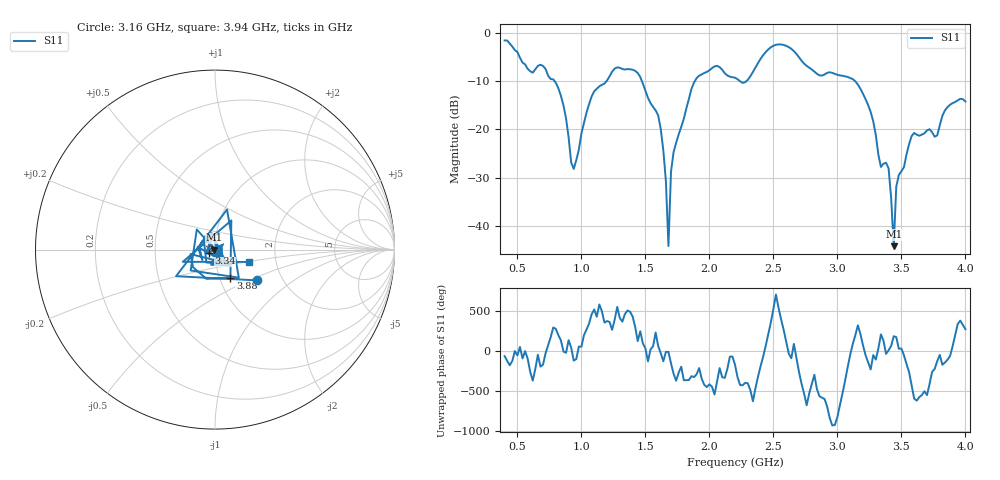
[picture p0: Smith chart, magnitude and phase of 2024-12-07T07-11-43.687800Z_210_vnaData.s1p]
!Created with skrf (http://scikit-rf.org).
# Hz S RI R 50.0
!freq ReS11 ImS11
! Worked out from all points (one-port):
!   181 points, 400 MHz to 4 GHz, reference 50 ohm
!   lowest |S11| = -44.2 dB at 3.44 GHz (marker M1), VSWR 1.01, Z = 49.4 - j0.0795 ohm
!   |S11| at or under -10 dB: 789.6 MHz to 1.197 GHz (407.6 MHz wide, 41 % of centre); 1.472 GHz to 1.887 GHz (414.9 MHz wide, 24.7 % of centre); 3.137 GHz to end of sweep (the widest 3 of 4)
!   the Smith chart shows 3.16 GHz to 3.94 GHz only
!   S11 on the Smith chart (normalised r, x): 3.16 GHz: 1.49, -0.56; 3.34 GHz: 0.93, -0.04; 3.88 GHz: 1.12, -0.37; 3.94 GHz: 1.44, -0.21
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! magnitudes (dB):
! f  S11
! 400 MHz  -1.6
! 700 MHz  -6.9
! 860 MHz  -15.1
! 940 MHz  -28.2
! 1.08 GHz  -13.2
! 1.3 GHz  -7.3
! 1.44 GHz  -8.3
! 1.6 GHz  -17.1
! 1.66 GHz  -30.7
! 1.68 GHz  -44.1
! 1.7 GHz  -28.8
! 1.76 GHz  -21.0
! 1.9 GHz  -9.4
! 2.2 GHz  -9.3
! 2.5 GHz  -2.7
! 2.66 GHz  -3.8
! 3.1 GHz  -9.4
! 3.16 GHz  -10.7
! 3.26 GHz  -16.4
! 3.34 GHz  -27.8
! 3.4 GHz  -28.1
! 3.44 GHz  -44.2
! 3.46 GHz  -31.8
! 3.56 GHz  -23.1
! 3.78 GHz  -21.2
! 3.88 GHz  -14.9
! 3.94 GHz  -14.0
! 4 GHz  -14.2
